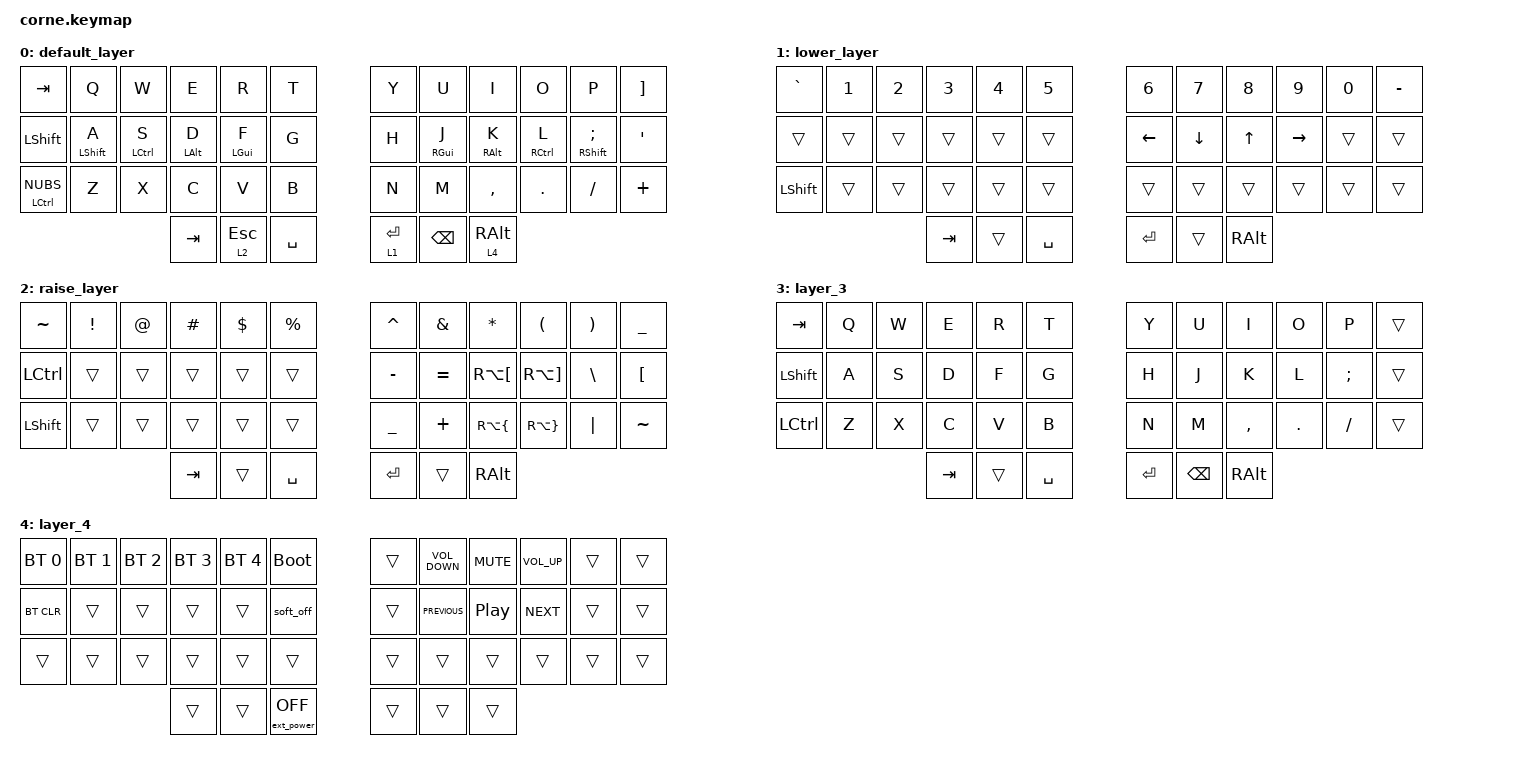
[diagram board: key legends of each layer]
/*
 * Copyright (c) 2020 The ZMK Contributors
 *
 * SPDX-License-Identifier: MIT
 */

#include <behaviors.dtsi>
#include <dt-bindings/zmk/bt.h>
#include <dt-bindings/zmk/keys.h>
#include <dt-bindings/zmk/ext_power.h>

/ {
    behaviors {
        hml: homewrow_mods_left {
            compatible = "zmk,behavior-hold-tap";
            label = "homewrow_mods_left";
            bindings = <&kp>, <&kp>;

            #binding-cells = <2>;
            quick-tap-ms = <175>;
            tapping-term-ms = <200>;
            require-prior-idle-ms = <150>;
            hold-trigger-key-positions = <31 39 40 41 30 18 19 32 20 21 33 35 34 23 22 10 11 9 8 7 6>;
            flavor = "balanced";
            hold-trigger-on-release;             // delay positional check until key-release
        };

        hmr: homewrow_mods_right {
            compatible = "zmk,behavior-hold-tap";
            label = "HOMEROW_MODS_RIGHT_HAND";
            bindings = <&kp>, <&kp>;

            #binding-cells = <2>;
            quick-tap-ms = <175>;
            tapping-term-ms = <200>;
            require-prior-idle-ms = <150>;
            hold-trigger-key-positions = <38 0 1 2 3 4 5 12 13 14 15 16 17 24 25 26 27 28 29 36 37 38>;
            flavor = "balanced";
            hold-trigger-on-release;             // delay positional check until key-release
        };

        layers: layers {
            compatible = "zmk,behavior-hold-tap";
            label = "LAYERS";
            bindings = <&mo>, <&kp>;

            #binding-cells = <2>;
            tapping-term-ms = <200>;
            quick-tap-ms = <0>;
            require-prior-idle-ms = <0>;
            flavor = "balanced";
        };
    };

    combos {
        compatible = "zmk,combos";

        caps {
            bindings = <&caps_word>;
            key-positions = <17 18>;
        };

        gaming {
            bindings = <&tog 3>;
            key-positions = <37 39>;
            require-prior-idle-ms = <0>;
        };

        media {
            bindings = <&none>;
            key-positions = <36 41>;
        };
    };

    keymap {
        compatible = "zmk,keymap";

        default_layer {
            // -----------------------------------------------------------------------------------------
            // |  TAB |  Q  |  W  |  E  |  R  |  T  |   |  Y  |  U   |  I  |  O  |  P  | BKSP |
            // | CTRL |  A  |  S  |  D  |  F  |  G  |   |  H  |  J   |  K  |  L  |  ;  |  '   |
            // | SHFT |  Z  |  X  |  C  |  V  |  B  |   |  N  |  M   |  ,  |  .  |  /  | ESC  |
            //                    | GUI | LWR | SPC |   | ENT | RSE  | ALT |

            bindings = <
&kp TAB         &kp Q              &kp W         &kp E            &kp R             &kp T        &kp Y            &kp U          &kp I             &kp O         &kp P            &kp RIGHT_BRACKET
&kp LSHFT       &hml LEFT_SHIFT A  &hml LCTRL S  &hml LEFT_ALT D  &hml LGUI F       &kp G        &kp H            &hmr RGUI J    &hmr RIGHT_ALT K  &hmr RCTRL L  &hmr RSHFT SEMI  &kp SQT
&mt LCTRL NUBS  &kp Z              &kp X         &kp C            &kp V             &kp B        &kp N            &kp M          &kp COMMA         &kp DOT       &kp FSLH         &kp PLUS
                                                 &kp TAB         &layers 2 ESCAPE  &kp SPACE    &layers 1 ENTER  &kp BACKSPACE  &layers 4 RALT
            >;
        };

        lower_layer {
            // -----------------------------------------------------------------------------------------
            // |  TAB |  1  |  2  |  3  |  4  |  5  |   |  6  |  7  |  8  |  9  |  0  | BKSP |
            // |     |     |     |     |     |     |   | LFT | DWN |  UP | RGT |     |      |
            // | SHFT |     |     |     |     |     |   |     |     |     |     |     |      |
            //                    | GUI |     | SPC |   | ENT |     | ALT |

            bindings = <
&kp GRAVE   &kp N1        &kp N2        &kp N3        &kp N4        &kp N5          &kp N6    &kp N7    &kp N8    &kp N9     &kp N0  &kp MINUS
&trans      &trans        &trans        &trans        &trans        &trans          &kp LEFT  &kp DOWN  &kp UP    &kp RIGHT  &trans  &trans
&kp LSHFT   &trans        &trans        &trans        &trans        &trans          &trans    &trans    &trans    &trans     &trans  &trans
                                        &kp TAB      &trans        &kp SPACE       &kp RET   &trans    &kp RALT
            >;
        };

        raise_layer {
            // -----------------------------------------------------------------------------------------
            // |  TAB |  !  |  @  |  #  |  $  |  %  |   |  ^  |  &  |  *  |  (  |  )  | BKSP |
            // | CTRL |     |     |     |     |     |   |  -  |  =  |  [  |  ]  |  \  |  `   |
            // | SHFT |     |     |     |     |     |   |  _  |  +  |  {  |  }  | "|" |  ~   |
            //                    | GUI |     | SPC |   | ENT |     | ALT |

            bindings = <
&kp TILDE  &kp EXCL  &kp AT  &kp HASH  &kp DLLR  &kp PRCNT    &kp CARET  &kp AMPS   &kp ASTERISK  &kp LPAR      &kp RPAR  &kp UNDER
&kp LCTRL  &trans    &trans  &trans    &trans    &trans       &kp MINUS  &kp EQUAL  &kp RA(LBKT)  &kp RA(RBKT)  &kp BSLH  &kp LEFT_BRACKET
&kp LSHFT  &trans    &trans  &trans    &trans    &trans       &kp UNDER  &kp PLUS   &kp RA(LBRC)  &kp RA(RBRC)  &kp PIPE  &kp TILDE
                             &kp TAB  &trans    &kp SPACE    &kp RET    &trans     &kp RALT
            >;
        };

        layer_3 {
            bindings = <
&kp TAB    &kp Q  &kp W  &kp E     &kp R   &kp T        &kp Y      &kp U          &kp I          &kp O    &kp P     &trans
&kp LSHFT  &kp A  &kp S  &kp D     &kp F   &kp G        &kp H      &kp J          &kp K          &kp L    &kp SEMI  &trans
&kp LCTRL  &kp Z  &kp X  &kp C     &kp V   &kp B        &kp N      &kp M          &kp COMMA      &kp DOT  &kp FSLH  &trans
                         &kp TAB  &trans  &kp SPACE    &kp ENTER  &kp BACKSPACE  &kp RIGHT_ALT
            >;
        };

        layer_4 {
            // -----------------------------------------------------------------------------------------
            // | BT1 | BT2 | BT3 | BT4 | BT5 | BOOT |   | VOL- | MUTE | VOL+ |      |      |
            // | CLR |     |     |     |     | OFF  |   | PREV | PLAY | NEXT |      |      |
            // |     |     |     |     |     |      |   |      |      |      |      |      |
            //                    |     |     | PWR_OFF |   |     |     |     |

            bindings = <
&bt BT_SEL 0  &bt BT_SEL 1  &bt BT_SEL 2  &bt BT_SEL 3  &bt BT_SEL 4  &bootloader  &trans  &kp C_VOLUME_DOWN  &kp C_MUTE        &kp C_VOLUME_UP  &trans  &trans
&bt BT_CLR    &trans        &trans        &trans        &trans        &soft_off    &trans  &kp C_PREVIOUS     &kp C_PLAY_PAUSE  &kp C_NEXT       &trans  &trans
&trans       &trans        &trans        &trans        &trans        &trans       &trans  &trans             &trans            &trans           &trans  &trans
                        &trans  &trans  &ext_power EP_OFF       &trans  &trans             &trans
            >;
        };
    };
};
